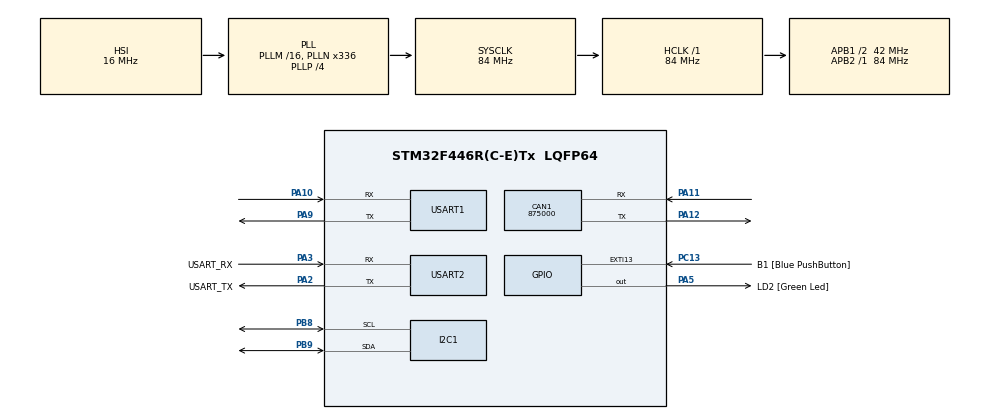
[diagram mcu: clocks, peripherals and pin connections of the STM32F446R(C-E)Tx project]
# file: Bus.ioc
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CAN1.CalculateBaudRate=875000
CAN1.CalculateTimeBit=1142
CAN1.CalculateTimeQuantum=380.95238095238096
Mcu.Family=STM32F4
Mcu.Name=STM32F446R(C-E)Tx
Mcu.Package=LQFP64
NVIC.PriorityGroup=NVIC_PRIORITYGROUP_0
PA10.Mode=Asynchronous
PA10.Signal=USART1_RX
PA11.Mode=CAN_Activate
PA11.Signal=CAN1_RX
PA12.Mode=CAN_Activate
PA12.Signal=CAN1_TX
PA13.GPIO_Label=TMS
PA13.Mode=Serial_Wire
PA13.Signal=SYS_JTMS-SWDIO
PA14.GPIO_Label=TCK
PA14.Mode=Serial_Wire
PA14.Signal=SYS_JTCK-SWCLK
PA2.GPIO_Label=USART_TX
PA2.Mode=Asynchronous
PA2.Signal=USART2_TX
PA3.GPIO_Label=USART_RX
PA3.Mode=Asynchronous
PA3.Signal=USART2_RX
PA5.GPIO_Label=LD2 [Green Led]
PA5.Signal=GPIO_Output
PA9.Mode=Asynchronous
PA9.Signal=USART1_TX
PB3.GPIO_Label=SWO
PB3.Signal=SYS_JTDO-SWO
PB8.Mode=I2C
PB8.Signal=I2C1_SCL
PB9.Mode=I2C
PB9.Signal=I2C1_SDA
PC13.GPIO_Label=B1 [Blue PushButton]
PC13.GPIO_ModeDefaultEXTI=GPIO_MODE_IT_FALLING
PC13.Signal=GPXTI13
PC14-OSC32_IN.Mode=LSE-External-Oscillator
PC14-OSC32_IN.Signal=RCC_OSC32_IN
PC15-OSC32_OUT.Mode=LSE-External-Oscillator
PC15-OSC32_OUT.Signal=RCC_OSC32_OUT
PH0-OSC_IN.Mode=HSE-External-Oscillator
PH0-OSC_IN.Signal=RCC_OSC_IN
PH1-OSC_OUT.Mode=HSE-External-Oscillator
PH1-OSC_OUT.Signal=RCC_OSC_OUT
ProjectManager.HeapSize=0x200
ProjectManager.StackSize=0x400
ProjectManager.TargetToolchain=STM32CubeIDE
RCC.48MHZClocksFreq_Value=84000000
RCC.AHBFreq_Value=84000000
RCC.APB1CLKDivider=RCC_HCLK_DIV2
RCC.APB1Freq_Value=42000000
RCC.APB1TimFreq_Value=84000000
RCC.APB2Freq_Value=84000000
RCC.APB2TimFreq_Value=84000000
RCC.CortexFreq_Value=84000000
RCC.FLatency-AdvancedSettings=FLASH_LATENCY_2
RCC.HCLKFreq_Value=84000000
RCC.HSE_VALUE=8000000
RCC.HSI_VALUE=16000000
RCC.PLLN=336
RCC.PLLP=RCC_PLLP_DIV4
RCC.SYSCLKFreq_VALUE=84000000
RCC.SYSCLKSource=RCC_SYSCLKSOURCE_PLLCLK
RCC.USBFreq_Value=168000000
RCC.VCOOutputFreq_Value=336000000
USART1.VirtualMode=VM_ASYNC
USART2.VirtualMode=VM_ASYNC
board=NUCLEO-F446RE

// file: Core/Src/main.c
/* USER CODE BEGIN Header */
/**
 ******************************************************************************
 * @file           : main.c
 * @brief          : Main program body
 ******************************************************************************
 * @attention
 *
 * Copyright (c) 2023 STMicroelectronics.
 * All rights reserved.
 *
 * This software is licensed under terms that can be found in the LICENSE file
 * in the root directory of this software component.
 * If no LICENSE file comes with this software, it is provided AS-IS.
 *
 ******************************************************************************
 */
/* USER CODE END Header */
#include "main.h"
#include "can.h"
#include "i2c.h"
#include "usart.h"
#include "gpio.h"

/* USER CODE BEGIN Includes */
#include "BMP280.h"
#include <stdio.h>
#include "shell.h"
/* USER CODE END Includes */

/* USER CODE BEGIN PV */
h_BMP280_t h_BMP280;

/* USER CODE END PV */

void SystemClock_Config(void);

/* USER CODE BEGIN 0 */

int I2C_transmit(uint8_t address, uint8_t *p_data, uint16_t size)
{
	HAL_I2C_Master_Transmit(&hi2c1, address, p_data, size, 100);
	return 0;
}

int I2C_receive(uint8_t address, uint8_t *p_data, uint16_t size)
{

	HAL_I2C_Master_Receive(&hi2c1, address, p_data, size, 100);
	return 0;
}
/* USER CODE END 0 */

int main(void)
{

  /* MCU Configuration--------------------------------------------------------*/

  /* Reset of all peripherals, Initializes the Flash interface and the Systick. */
  HAL_Init();

  /* Configure the system clock */
  SystemClock_Config();

  /* Initialize all configured peripherals */
  MX_GPIO_Init();
  MX_USART2_UART_Init();
  MX_CAN1_Init();
  MX_I2C1_Init();
  MX_USART1_UART_Init();
  /* USER CODE BEGIN 2 */
	//Shell
	//Shell_Init();

	//Accélérométre
	h_BMP280.I2C_drv.receive = I2C_receive;
	h_BMP280.I2C_drv.transmit = I2C_transmit;
	BMP280_init(&h_BMP280);
	printf("chip ID = 0x%02X\r\n", h_BMP280.chip);
	printf("power mode = 0x%02X\r\n", h_BMP280.power);
	printf("sample = 0x%02X\r\n", h_BMP280.sample);

  /* USER CODE END 2 */

  /* Infinite loop */
  /* USER CODE BEGIN WHILE */
	while (1)
	{
		//Shell_Loop();
		/*
		BMP280_get_temp(&h_BMP280);
		BMP280_get_pressure(&h_BMP280);
		printf("power mode = %f\r\n", h_BMP280.temp);
		printf("sample = %f\r\n", h_BMP280.press);
		HAL_Delay(500);
		*/
    /* USER CODE END WHILE */

	}
}

void SystemClock_Config(void)
{
  RCC_OscInitTypeDef RCC_OscInitStruct = {0};
  RCC_ClkInitTypeDef RCC_ClkInitStruct = {0};

  /** Configure the main internal regulator output voltage
  */
  __HAL_RCC_PWR_CLK_ENABLE();
  __HAL_PWR_VOLTAGESCALING_CONFIG(PWR_REGULATOR_VOLTAGE_SCALE3);

  /** Initializes the RCC Oscillators according to the specified parameters
  * in the RCC_OscInitTypeDef structure.
  */
  RCC_OscInitStruct.OscillatorType = RCC_OSCILLATORTYPE_HSI;
  RCC_OscInitStruct.HSIState = RCC_HSI_ON;
  RCC_OscInitStruct.HSICalibrationValue = RCC_HSICALIBRATION_DEFAULT;
  RCC_OscInitStruct.PLL.PLLState = RCC_PLL_ON;
  RCC_OscInitStruct.PLL.PLLSource = RCC_PLLSOURCE_HSI;
  RCC_OscInitStruct.PLL.PLLM = 16;
  RCC_OscInitStruct.PLL.PLLN = 336;
  RCC_OscInitStruct.PLL.PLLP = RCC_PLLP_DIV4;
  RCC_OscInitStruct.PLL.PLLQ = 2;
  RCC_OscInitStruct.PLL.PLLR = 2;
  if (HAL_RCC_OscConfig(&RCC_OscInitStruct) != HAL_OK)
  {
    Error_Handler();
  }

  /** Initializes the CPU, AHB and APB buses clocks
  */
  RCC_ClkInitStruct.ClockType = RCC_CLOCKTYPE_HCLK|RCC_CLOCKTYPE_SYSCLK
                              |RCC_CLOCKTYPE_PCLK1|RCC_CLOCKTYPE_PCLK2;
  RCC_ClkInitStruct.SYSCLKSource = RCC_SYSCLKSOURCE_PLLCLK;
  RCC_ClkInitStruct.AHBCLKDivider = RCC_SYSCLK_DIV1;
  RCC_ClkInitStruct.APB1CLKDivider = RCC_HCLK_DIV2;
  RCC_ClkInitStruct.APB2CLKDivider = RCC_HCLK_DIV1;

  if (HAL_RCC_ClockConfig(&RCC_ClkInitStruct, FLASH_LATENCY_2) != HAL_OK)
  {
    Error_Handler();
  }
}

void Error_Handler(void)
{
	__disable_irq();
	while (1)
	{
	}
}
